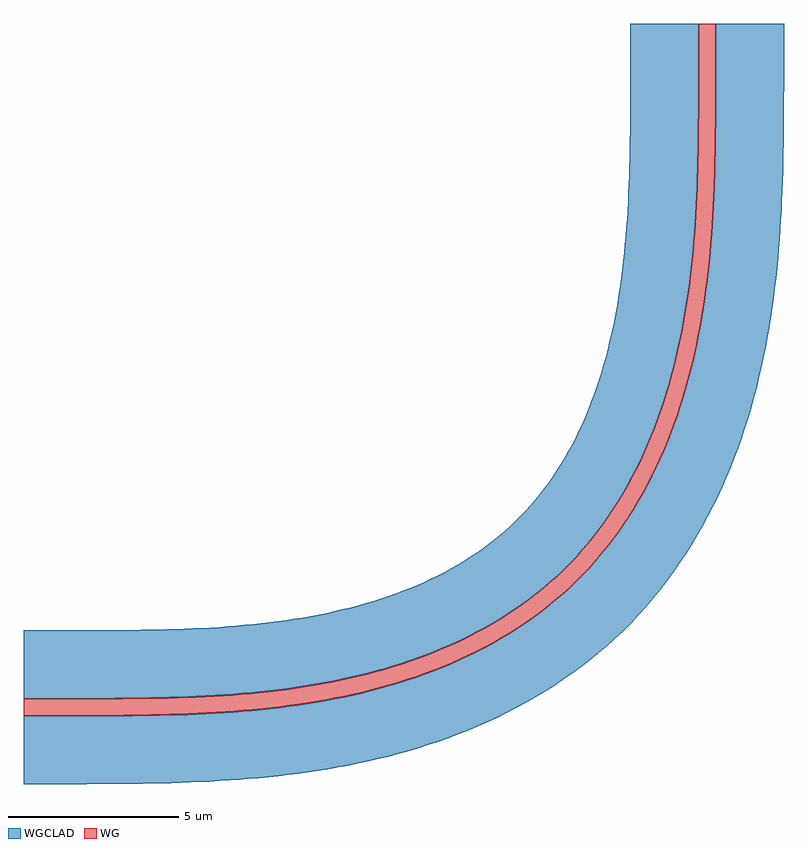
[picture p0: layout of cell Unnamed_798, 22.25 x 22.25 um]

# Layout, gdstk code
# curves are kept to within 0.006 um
from math import pi, radians
import gdstk
lib = gdstk.Library(unit=1e-6, precision=1e-09)
def R(c, l, rs):  # rectangles x0, y0, x1, y1
    for r in rs: c.add(gdstk.rectangle(r[:2], r[2:], *l))
def P(c, l, *ps):  # polygons
    for p in ps: c.add(gdstk.Polygon(p, *l))
WG = (1, 0)
WGCLAD = (111, 0)

straight_w500_l1299_lwg_ = lib.new_cell('straight_W500_L1299_LWG_EWGSTD')
R(straight_w500_l1299_lwg_, WG, [(0,-0.25,1.299,0.25)])
R(straight_w500_l1299_lwg_, WGCLAD, [(0,-2.25,1.299,-0.25), (0,0.25,1.299,2.25)])

bend_euler_w0p5_r10_lwg_ = lib.new_cell('bend_euler_W0p5_R10_LWG_EWGSTD_A90_R150')
P(bend_euler_w0p5_r10_lwg_, WG, [(0,-0.25),(0,0.25),(1.609,0.254),(3.214,0.285),(4.28,0.334),(5.343,0.413),(6.4,0.531),(6.926,0.607),(7.449,0.696),(8.229,0.854),(8.744,0.977),(9.255,1.116),(10.011,1.355),(10.752,1.632),(11.476,1.951),(12.178,2.312),(12.855,2.718),(13.074,2.863),(13.501,3.168),(13.912,3.494),(14.111,3.664),(14.496,4.019),(14.862,4.395),(15.037,4.589),(15.372,4.992),(15.533,5.2),(15.838,5.627),(15.983,5.846),(16.258,6.294),(16.389,6.523),(16.634,6.988),(16.967,7.705),(17.258,8.441),(17.51,9.193),(17.724,9.957),(17.847,10.472),(17.956,10.991),(18.051,11.513),(18.133,12.038),(18.262,13.093),(18.351,14.155),(18.416,15.487),(18.447,17.092),(18.451,18.701),(18.951,18.701),(18.947,17.088),(18.924,15.741),(18.866,14.392),(18.786,13.312),(18.665,12.235),(18.544,11.43),(18.393,10.629),(18.274,10.098),(18.139,9.57),(17.906,8.786),(17.728,8.27),(17.532,7.761),(17.317,7.258),(17.201,7.01),(16.826,6.28),(16.403,5.575),(16.095,5.121),(15.765,4.682),(15.591,4.469),(15.229,4.055),(15.04,3.856),(14.646,3.472),(14.441,3.288),(14.019,2.936),(13.801,2.769),(13.58,2.606),(13.126,2.298),(12.421,1.875),(11.691,1.5),(11.443,1.384),(10.94,1.169),(10.431,0.973),(9.915,0.795),(9.131,0.562),(8.603,0.427),(8.072,0.308),(7.271,0.157),(6.466,0.036),(5.389,-0.085),(4.309,-0.165),(2.96,-0.223),(1.613,-0.246)])
P(bend_euler_w0p5_r10_lwg_, WGCLAD, [(0,-2.25),(0,-0.25),(1.613,-0.246),(2.96,-0.223),(4.309,-0.165),(5.389,-0.085),(6.466,0.036),(7.271,0.157),(8.072,0.308),(8.603,0.427),(9.131,0.562),(9.915,0.795),(10.431,0.973),(10.94,1.169),(11.443,1.384),(11.691,1.5),(12.421,1.875),(13.126,2.298),(13.58,2.606),(14.019,2.936),(14.232,3.11),(14.646,3.472),(14.845,3.661),(15.229,4.055),(15.413,4.26),(15.765,4.682),(15.932,4.9),(16.095,5.121),(16.403,5.575),(16.826,6.28),(17.201,7.01),(17.317,7.258),(17.532,7.761),(17.728,8.27),(17.906,8.786),(18.139,9.57),(18.274,10.098),(18.393,10.629),(18.544,11.43),(18.665,12.235),(18.786,13.312),(18.866,14.392),(18.924,15.741),(18.947,17.088),(18.951,18.701),(20.951,18.701),(20.944,16.796),(20.923,15.685),(20.863,14.274),(20.777,13.129),(20.719,12.551),(20.648,11.971),(20.516,11.097),(20.41,10.511),(20.287,9.925),(20.069,9.045),(19.808,8.168),(19.607,7.586),(19.385,7.008),(19.007,6.15),(18.725,5.587),(18.574,5.309),(18.417,5.033),(18.083,4.489),(17.722,3.958),(17.531,3.698),(17.333,3.441),(16.917,2.941),(16.473,2.461),(16.24,2.228),(15.76,1.784),(15.26,1.368),(14.743,0.979),(14.479,0.795),(14.212,0.618),(13.668,0.284),(13.114,-0.024),(12.833,-0.168),(12.551,-0.306),(11.98,-0.564),(11.693,-0.684),(11.115,-0.906),(10.533,-1.107),(9.948,-1.286),(9.069,-1.518),(8.483,-1.649),(7.897,-1.764),(7.312,-1.863),(6.73,-1.947),(6.15,-2.018),(5.572,-2.076),(4.427,-2.162),(3.016,-2.222),(1.905,-2.243)],
  [(0,0.25),(0,2.25),(1.592,2.254),(2.891,2.276),(3.91,2.316),(4.663,2.364),(5.65,2.455),(6.377,2.547),(6.855,2.622),(7.326,2.708),(8.021,2.859),(8.475,2.975),(8.922,3.103),(9.575,3.322),(10.208,3.572),(10.816,3.854),(11.398,4.169),(11.769,4.398),(12.126,4.64),(12.632,5.031),(13.101,5.452),(13.533,5.908),(13.934,6.402),(14.303,6.932),(14.532,7.303),(14.745,7.688),(15.038,8.288),(15.299,8.912),(15.528,9.559),(15.664,10.001),(15.786,10.452),(15.946,11.141),(16.118,12.084),(16.218,12.807),(16.318,13.789),(16.385,14.791),(16.431,16.068),(16.447,17.109),(16.451,18.701),(18.451,18.701),(18.447,17.092),(18.416,15.487),(18.367,14.421),(18.288,13.358),(18.17,12.301),(18.051,11.513),(17.956,10.991),(17.847,10.472),(17.656,9.701),(17.51,9.193),(17.346,8.69),(17.069,7.949),(16.75,7.225),(16.389,6.523),(15.983,5.846),(15.838,5.627),(15.533,5.2),(15.372,4.992),(15.037,4.589),(14.862,4.395),(14.496,4.019),(14.306,3.839),(13.912,3.494),(13.501,3.168),(13.289,3.013),(13.074,2.863),(12.632,2.578),(11.947,2.187),(11.237,1.84),(10.507,1.535),(10.011,1.355),(9.508,1.191),(8.744,0.977),(8.229,0.854),(7.71,0.745),(6.926,0.607),(6.136,0.498),(5.078,0.39),(4.014,0.319),(2.946,0.277),(1.609,0.254)])

unnamed_798 = lib.new_cell('Unnamed_798')
unnamed_798.add(gdstk.Reference(straight_w500_l1299_lwg_, (20,18.701), rotation=pi/2, x_reflection=True))
unnamed_798.add(gdstk.Reference(straight_w500_l1299_lwg_, (0,0)))
unnamed_798.add(gdstk.Reference(bend_euler_w0p5_r10_lwg_, (20,18.701), rotation=3*pi/2, x_reflection=True))

lib.write_gds('Unnamed_798.gds')
